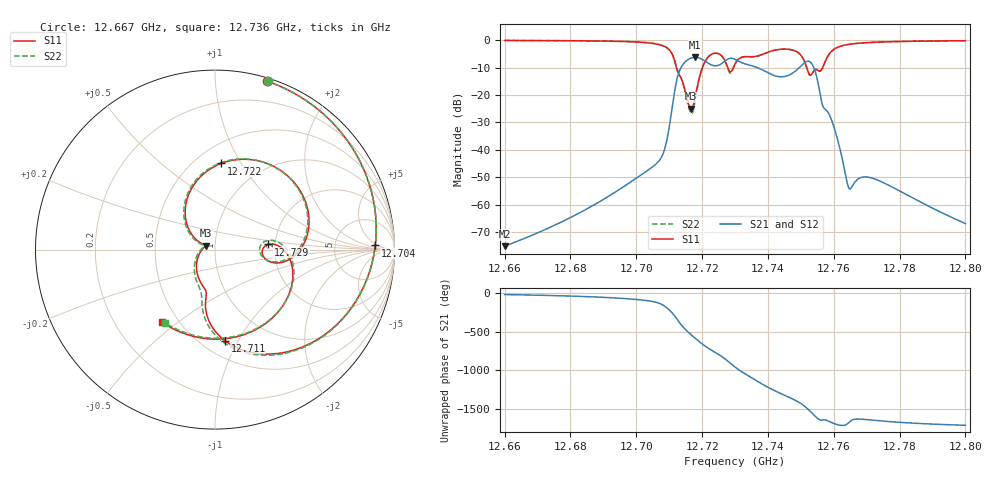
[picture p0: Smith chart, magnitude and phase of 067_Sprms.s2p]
! TOUCHSTONE file generated by CST MICROWAVE STUDIO
! Date and time: Wed Jul 31 14:04:58 2024
! Project name: WaveGuide_BPF-Ver4.1_U-shape_Ku_T3_C4_CWA_2.cst
! Parameters = {cavity_h=16; cavity_l0=10; cavity_l1=15.1709; cavity_l2=16.8301; cavity_l3=17.0843; cavity_l4=17.2356; cavity_l5=17.1437; cavity_l6=17.579; cavity_r=2.5; cavity_screw_l=0.5; cavity_screw_r=1.5; cavity_w=8; iris_h00=0; iris_h01=8.8112; iris_h112=0; iris_h12=5.5989; iris_h211=3.6674; i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
! Header version: 2018
! Port assignment regex: !\s*Touchstone port\s*([0-9]+)\s*=\s*(CST MWS port|CST DS port)\s*([0-9]+|Zmin|Zmax)\s*\(\"(.*)\"\)(\s*mode\s*([0-9]+))?.*
! Touchstone port assignment:
! Touchstone port 1 = CST MWS port 1 ("")
! Touchstone port 2 = CST MWS port 2 ("")
# GHz S RI R 50
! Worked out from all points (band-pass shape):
!   5001 points, 12.66 GHz to 12.8 GHz, reference 50 ohm
!   highest |S21| = -6.29 dB at 12.718 GHz (marker M1); lowest = -75.2 dB at 12.66 GHz (marker M2)
!   |S21| within 3 dB of the highest: 12.71396 GHz to 12.72341 GHz (9.453 MHz wide, 0.0743 % of centre); 12.72467 GHz to 12.73494 GHz (10.27 MHz wide, 0.0807 % of centre)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
!   lowest |S11| = -25.1 dB at 12.717 GHz (marker M3), VSWR 1.12, Z = 45.1 + j2 ohm
!   |S11| at or under -10 dB: 12.71218 GHz to 12.7201 GHz (7.918 MHz wide, 0.0623 % of centre); 12.72779 GHz to 12.72949 GHz (1.698 MHz wide, 0.0133 % of centre); 12.75178 GHz to 12.75664 GHz (4.861 MHz wide, 0.0381 % of centre)
!   |S22| runs from -26.8 to -0.1 dB; largest |S21 - S12| = 1e-09
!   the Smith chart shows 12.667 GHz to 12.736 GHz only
!   S11 on the Smith chart (normalised r, x): 12.667 GHz: 0.03, +1.35; 12.704 GHz: 17, +4; 12.711 GHz: 0.64, -0.88; 12.722 GHz: 0.66, +0.83; 12.729 GHz: 1.84, +0.12; 12.736 GHz: 0.41, -0.44
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12.66  0.2024 0.9638  0.000168 -4.72e-05  0.000168 -4.72e-05  0.2073 0.9627
12.66694  0.2889 0.9387  0.000238 -9.25e-05  0.000238 -9.25e-05  0.2937 0.9373
12.68335  0.5527 0.7977  0.000565 -0.000475  0.000565 -0.000475  0.557 0.7947
12.70357  0.8926 0.0229  -0.000481 -0.00422  -0.000481 -0.00422  0.8926 0.0152
12.70668  0.787 -0.2833  -0.00341 -0.00497  -0.00341 -0.00497  0.7841 -0.2911
12.71116  0.0548 -0.507  -0.00607 0.0737  -0.00607 0.0737  0.0516 -0.5192
12.71667  -0.0513 0.0221  -0.4692 -0.0201  -0.4692 -0.0201  -0.0387 0.0251
12.71796  -0.0863 0.0411  -0.3441 0.3411  -0.3441 0.3411  -0.0779 0.0312
12.72171  0.0348 0.4803  0.3723 0.0912  0.3723 0.0912  0.0161 0.4774
12.72616  0.4982 0.0386  -0.0961 -0.3686  -0.0961 -0.3686  0.4927 0.0474
12.7293  0.297 0.0286  -0.3924 0.2446  -0.3924 0.2446  0.2829 0.0478
12.73  0.366 0.0132  -0.2516 0.3683  -0.2516 0.3683  0.3568 0.0392
12.73571  -0.2938 -0.4047  0.2837 -0.1732  0.2837 -0.1732  -0.2762 -0.409
12.74187  0.0285 0.6505  -0.2261 -0.00706  -0.2261 -0.00706  0.0439 0.6483
12.74666  0.6719 0.0476  0.00945 0.2338  0.00945 0.2338  0.6742 0.031
12.75089  0.1138 -0.4209  0.3646 -0.0939  0.3646 -0.0939  0.1073 -0.4249
12.75335  0.0311 -0.24  -0.131 -0.3452  -0.131 -0.3452  0.0302 -0.2431
12.75764  0.2351 0.3709  -0.0491 0.0216  -0.0491 0.0216  0.2278 0.3689
12.76024  0.6709 -0.1644  -0.00801 0.0227  -0.00801 0.0227  0.6679 -0.1681
12.76464  0.2899 -0.7853  -0.00121 0.00157  -0.00121 0.00157  0.2818 -0.7882
12.77668  -0.6694 -0.6493  -0.00169 0.0015  -0.00169 0.0015  -0.6753 -0.6436
12.8  -0.9715 0.0673  3.64e-06 0.000451  3.64e-06 0.000451  -0.9711 0.0739
